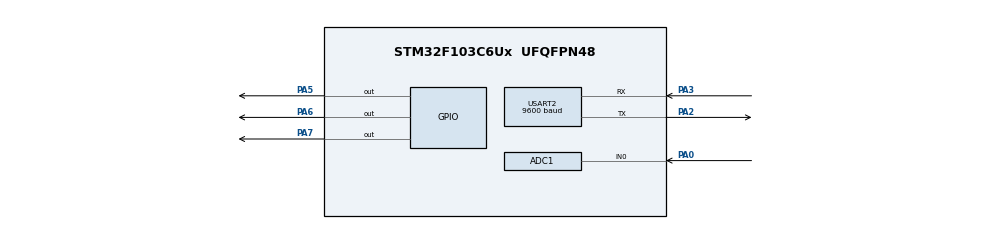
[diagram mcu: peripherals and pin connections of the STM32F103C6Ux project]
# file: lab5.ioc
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ADC1.Channel-0\#ChannelRegularConversion=ADC_CHANNEL_0
ADC1.ContinuousConvMode=ENABLE
ADC1.NbrOfConversionFlag=1
ADC1.Rank-0\#ChannelRegularConversion=1
ADC1.SamplingTime-0\#ChannelRegularConversion=ADC_SAMPLETIME_1CYCLE_5
ADC1.master=1
Mcu.Family=STM32F1
Mcu.Name=STM32F103C6Ux
Mcu.Package=UFQFPN48
NVIC.PriorityGroup=NVIC_PRIORITYGROUP_4
NVIC.USART2_IRQn=true\:0\:0\:false\:false\:true\:true\:true
PA0-WKUP.Signal=ADCx_IN0
PA2.Mode=Asynchronous
PA2.Signal=USART2_TX
PA3.Mode=Asynchronous
PA3.Signal=USART2_RX
PA5.Signal=GPIO_Output
PA6.Signal=GPIO_Output
PA7.Signal=GPIO_Output
ProjectManager.HeapSize=0x200
ProjectManager.StackSize=0x400
ProjectManager.TargetToolchain=STM32CubeIDE
RCC.APB1Freq_Value=8000000
RCC.APB2Freq_Value=8000000
SH.ADCx_IN0.0=ADC1_IN0,IN0
USART2.BaudRate=9600
USART2.VirtualMode=VM_ASYNC
VP_SYS_VS_ND.Mode=No_Debug
board=custom

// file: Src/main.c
/* USER CODE BEGIN Header */
/**
  ******************************************************************************
  * @file           : main.c
  * @brief          : Main program body
  ******************************************************************************
  * @attention
  *
  * <h2><center>&copy; Copyright (c) 2024 STMicroelectronics.
  * All rights reserved.</center></h2>
  *
  * This software component is licensed by ST under BSD 3-Clause license,
  * the "License"; You may not use this file except in compliance with the
  * License. You may obtain a copy of the License at:
  *                        opensource.org/licenses/BSD-3-Clause
  *
  ******************************************************************************
  */
/* USER CODE END Header */
#include "main.h"

/* USER CODE BEGIN Includes */
#include <stdio.h>
#include <stdlib.h>
#include <string.h>
/* USER CODE END Includes */

ADC_HandleTypeDef hadc1;

UART_HandleTypeDef huart2;

void SystemClock_Config(void);
static void MX_GPIO_Init(void);
static void MX_ADC1_Init(void);
static void MX_USART2_UART_Init(void);

/* USER CODE BEGIN 0 */
#define MAX_BUFFER_SIZE 6
uint8_t temp = 0;
uint8_t buffer[MAX_BUFFER_SIZE] = {0};
uint8_t index_buffer = 0;
uint8_t buffer_flag = 0;
void HAL_UART_RxCpltCallback(UART_HandleTypeDef *huart) {
	if (huart->Instance == USART2) {
		HAL_UART_Transmit(&huart2, &temp, 1, 50);
		buffer[index_buffer++] = temp;

		if(index_buffer == 6){
			 index_buffer = 0;
			 HAL_GPIO_WritePin(GPIOA, GPIO_PIN_6, RESET);
		}
		if (index_buffer != 0){
			HAL_GPIO_WritePin(GPIOA, GPIO_PIN_6, SET);
		}
		 buffer_flag = 1;
//		 HAL_UART_Transmit(&huart2, &temp, 1, 50);
		 HAL_UART_Receive_IT(&huart2, &temp, 1);
	}
}

int go;
char str1[]="!RST#";
char str2[]="!OK#";
char * str3 = "More than 3 time !!!";
uint32_t ADC_value = 0;
char str[50];
char * test = "!ADC=";
char * siuu = "#   ";
char kakarot[100];
int counter0 = 0;
int counter1 = 0;

void checking_go0(){
	for (int i = 0; i < MAX_BUFFER_SIZE; i++){
		if (buffer[i] == '!'){
			if(i+1 >= MAX_BUFFER_SIZE){
				if (buffer[0] == 'R'){
					if (buffer[1] == 'S'){
						if (buffer[2] == 'T'){
							if (buffer[3] == '#'){
								go = 1;
								return;
							}
						}
					}
				}
			}else if (buffer[i+1] == 'R'){
				if (i+2 >= MAX_BUFFER_SIZE){
					if (buffer[0] == 'S'){
						if (buffer[1] == 'T'){
							if (buffer[2] == '#'){
								go = 1;
								return;
							}
						}
					}
				}else if (buffer[i+2] == 'S'){
					if (i+3 >= MAX_BUFFER_SIZE){
						if (buffer[0] == 'T'){
							if (buffer[1] == '#'){
								go = 1;
								return;
							}
						}
					}else if (buffer[i+3] == 'T'){
						if (i+4 >= MAX_BUFFER_SIZE){
							if (buffer[0] == '#'){
								go = 1;
								return;
							}
						}else if (buffer[i+4] == '#'){
							go = 1;
							return;
						}
					}
				}
			}
		}

	}
	return;
}

void checking_go1(){
	for (int i = 0; i < MAX_BUFFER_SIZE; i++){
		if (buffer[i] == '!'){
			if(i+1 >= MAX_BUFFER_SIZE){
				if (buffer[0] == 'O'){
					if (buffer[1] == 'K'){
						if (buffer[2] == '#'){
							go = 0;
							return;
						}
					}
				}
			}else if (buffer[i+1] == 'O'){
				if (i+2 >= MAX_BUFFER_SIZE){
					if (buffer[0] == 'K'){
						if (buffer[1] == '#'){
							go = 0;
							return;
						}
					}
				}else if (buffer[i+2] == 'K'){
					if (i+3 >= MAX_BUFFER_SIZE){
						if (buffer[0] == '#'){
							go = 0;
							return;
						}
					}else if (buffer[i+3] == '#'){
						go = 0;
						return;
					}
				}
			}
		}

	}
	return;

}

void command_parser_fsm(){
	checking_go0();

	checking_go1();
}

void uart_communiation_fsm(){
	if (go == 1){
		if (counter0 == 3){
			HAL_UART_Transmit(&huart2, (uint8_t *)str3, strlen(str3), 1000);

			go = 0;
			counter0 = 0;
			counter1 = 0;
			return;
		}

		  kakarot[0] = '\0';
		  HAL_GPIO_TogglePin(GPIOA, GPIO_PIN_5);

		  if (counter1 == 0){
			  ADC_value = HAL_ADC_GetValue(&hadc1);

		  }
		  sprintf(str, "%d\n", ADC_value);

		  sprintf(kakarot, "%s%s%s\n", test, str, siuu);

		  HAL_UART_Transmit(&huart2, (uint8_t *)kakarot, strlen(kakarot), 1000);

			counter1++;
			counter0++;
		  HAL_Delay(3000);
	}else if (go == 0){
		counter1 = 0;
		counter0 = 0;
		return;
	}

}

/* USER CODE END 0 */

int main(void)
{

  /* MCU Configuration--------------------------------------------------------*/

  /* Reset of all peripherals, Initializes the Flash interface and the Systick. */
  HAL_Init();

  /* Configure the system clock */
  SystemClock_Config();

  /* Initialize all configured peripherals */
  MX_GPIO_Init();
  MX_ADC1_Init();
  MX_USART2_UART_Init();
  /* USER CODE BEGIN 2 */
  HAL_UART_Receive_IT(&huart2, &temp, 1);
  /* USER CODE END 2 */
  HAL_ADC_Start(&hadc1);
  /* Infinite loop */
  /* USER CODE BEGIN WHILE */

  go = 0;

  while (1)
  {

	  if(buffer_flag == 1){
		  command_parser_fsm();
	   	   buffer_flag = 0;
	  }
	  uart_communiation_fsm();

//	  if (go == 0){
//		  HAL_GPIO_WritePin(GPIOB, GPIO_PIN_6, SET);
//		  HAL_GPIO_WritePin(GPIOB, GPIO_PIN_7, RESET);
//
//	  }else if (go == 1){
//		  HAL_GPIO_WritePin(GPIOB, GPIO_PIN_6, RESET);
//		  HAL_GPIO_WritePin(GPIOB, GPIO_PIN_7, SET);
//
//	  }
//	  HAL_Delay(500);

	  //uart_communiation_fsm();

    /* USER CODE END WHILE */

  }
}

void SystemClock_Config(void)
{
  RCC_OscInitTypeDef RCC_OscInitStruct = {0};
  RCC_ClkInitTypeDef RCC_ClkInitStruct = {0};
  RCC_PeriphCLKInitTypeDef PeriphClkInit = {0};

  /** Initializes the RCC Oscillators according to the specified parameters
  * in the RCC_OscInitTypeDef structure.
  */
  RCC_OscInitStruct.OscillatorType = RCC_OSCILLATORTYPE_HSI;
  RCC_OscInitStruct.HSIState = RCC_HSI_ON;
  RCC_OscInitStruct.HSICalibrationValue = RCC_HSICALIBRATION_DEFAULT;
  RCC_OscInitStruct.PLL.PLLState = RCC_PLL_NONE;
  if (HAL_RCC_OscConfig(&RCC_OscInitStruct) != HAL_OK)
  {
    Error_Handler();
  }
  /** Initializes the CPU, AHB and APB buses clocks
  */
  RCC_ClkInitStruct.ClockType = RCC_CLOCKTYPE_HCLK|RCC_CLOCKTYPE_SYSCLK
                              |RCC_CLOCKTYPE_PCLK1|RCC_CLOCKTYPE_PCLK2;
  RCC_ClkInitStruct.SYSCLKSource = RCC_SYSCLKSOURCE_HSI;
  RCC_ClkInitStruct.AHBCLKDivider = RCC_SYSCLK_DIV1;
  RCC_ClkInitStruct.APB1CLKDivider = RCC_HCLK_DIV1;
  RCC_ClkInitStruct.APB2CLKDivider = RCC_HCLK_DIV1;

  if (HAL_RCC_ClockConfig(&RCC_ClkInitStruct, FLASH_LATENCY_0) != HAL_OK)
  {
    Error_Handler();
  }
  PeriphClkInit.PeriphClockSelection = RCC_PERIPHCLK_ADC;
  PeriphClkInit.AdcClockSelection = RCC_ADCPCLK2_DIV2;
  if (HAL_RCCEx_PeriphCLKConfig(&PeriphClkInit) != HAL_OK)
  {
    Error_Handler();
  }
}

static void MX_ADC1_Init(void)
{

  ADC_ChannelConfTypeDef sConfig = {0};

  /** Common config
  */
  hadc1.Instance = ADC1;
  hadc1.Init.ScanConvMode = ADC_SCAN_DISABLE;
  hadc1.Init.ContinuousConvMode = ENABLE;
  hadc1.Init.DiscontinuousConvMode = DISABLE;
  hadc1.Init.ExternalTrigConv = ADC_SOFTWARE_START;
  hadc1.Init.DataAlign = ADC_DATAALIGN_RIGHT;
  hadc1.Init.NbrOfConversion = 1;
  if (HAL_ADC_Init(&hadc1) != HAL_OK)
  {
    Error_Handler();
  }
  /** Configure Regular Channel
  */
  sConfig.Channel = ADC_CHANNEL_0;
  sConfig.Rank = ADC_REGULAR_RANK_1;
  sConfig.SamplingTime = ADC_SAMPLETIME_1CYCLE_5;
  if (HAL_ADC_ConfigChannel(&hadc1, &sConfig) != HAL_OK)
  {
    Error_Handler();
  }

}

static void MX_USART2_UART_Init(void)
{

  huart2.Instance = USART2;
  huart2.Init.BaudRate = 9600;
  huart2.Init.WordLength = UART_WORDLENGTH_8B;
  huart2.Init.StopBits = UART_STOPBITS_1;
  huart2.Init.Parity = UART_PARITY_NONE;
  huart2.Init.Mode = UART_MODE_TX_RX;
  huart2.Init.HwFlowCtl = UART_HWCONTROL_NONE;
  huart2.Init.OverSampling = UART_OVERSAMPLING_16;
  if (HAL_UART_Init(&huart2) != HAL_OK)
  {
    Error_Handler();
  }

}

static void MX_GPIO_Init(void)
{
  GPIO_InitTypeDef GPIO_InitStruct = {0};

  /* GPIO Ports Clock Enable */
  __HAL_RCC_GPIOA_CLK_ENABLE();

  /*Configure GPIO pin Output Level */
  HAL_GPIO_WritePin(GPIOA, GPIO_PIN_5|GPIO_PIN_6|GPIO_PIN_7, GPIO_PIN_RESET);

  /*Configure GPIO pins : PA5 PA6 PA7 */
  GPIO_InitStruct.Pin = GPIO_PIN_5|GPIO_PIN_6|GPIO_PIN_7;
  GPIO_InitStruct.Mode = GPIO_MODE_OUTPUT_PP;
  GPIO_InitStruct.Pull = GPIO_NOPULL;
  GPIO_InitStruct.Speed = GPIO_SPEED_FREQ_LOW;
  HAL_GPIO_Init(GPIOA, &GPIO_InitStruct);

}

void Error_Handler(void)
{
  __disable_irq();
  while (1)
  {
  }
}

/************************ (C) COPYRIGHT STMicroelectronics *****END OF FILE****/
